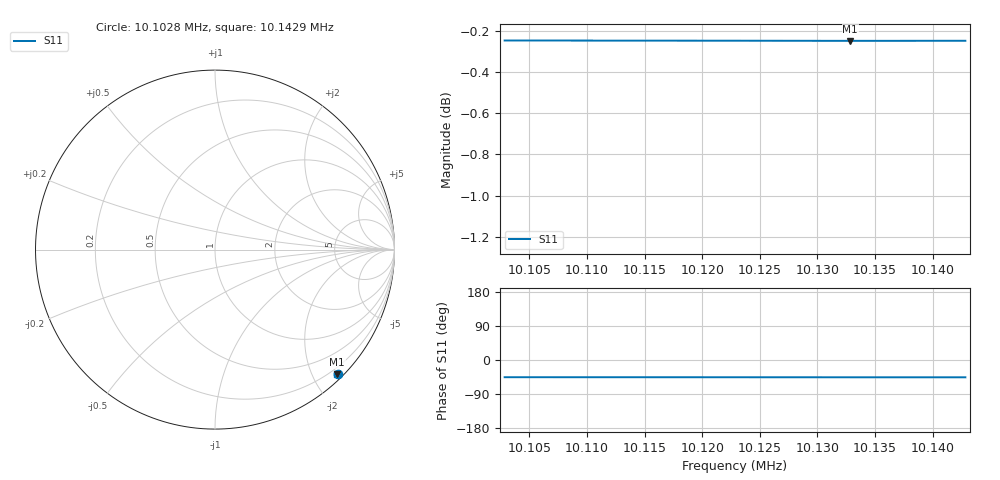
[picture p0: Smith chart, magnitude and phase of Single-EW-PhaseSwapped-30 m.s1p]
# HZ S RI R 50
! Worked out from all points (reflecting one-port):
!   5 points, 10.1028 MHz to 10.1429 MHz, reference 50 ohm
!   lowest |S11| = -0.2 dB at 10.1329 MHz (marker M1), VSWR 70.12, Z = 4.74 - j119 ohm
!   phase of S11 starts at -45 deg and turns -0 deg over the sweep
1.010284e7  0.6827 -0.692
1.011284e7  0.6817 -0.6929
1.012285e7  0.6807 -0.6938
1.013285e7  0.6797 -0.6947
1.014286e7  0.6788 -0.6956
